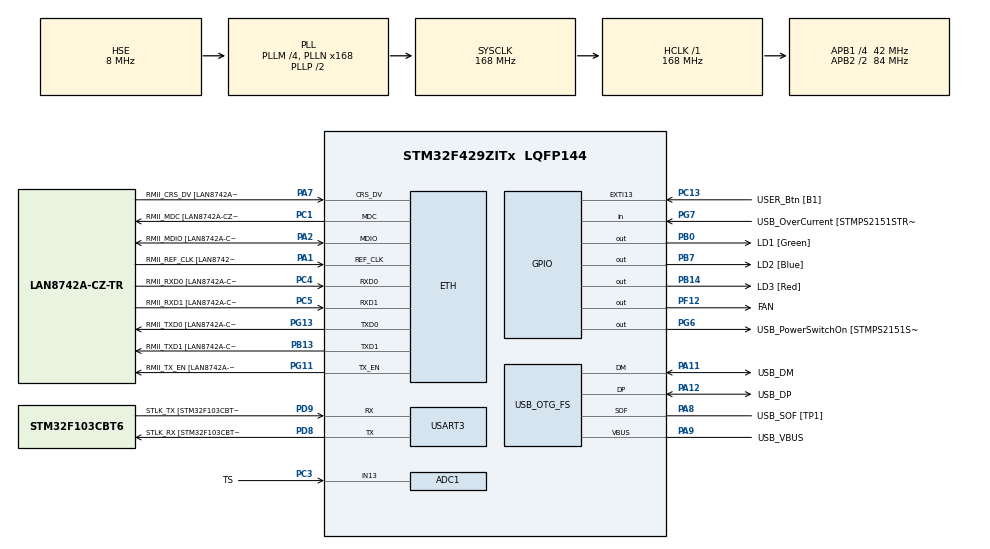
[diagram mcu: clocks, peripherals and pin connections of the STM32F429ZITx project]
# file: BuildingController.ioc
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ADC1.Channel-0\#ChannelRegularConversion=ADC_CHANNEL_13
ADC1.Channel-1\#ChannelInjectedConversion=ADC_CHANNEL_13
ADC1.ContinuousConvMode=ENABLE
ADC1.DMAContinuousRequests=ENABLE
ADC1.InjNumberOfConversion=1
ADC1.InjectedOffset-1\#ChannelInjectedConversion=0
ADC1.InjectedRank-1\#ChannelInjectedConversion=1
ADC1.NbrOfConversionFlag=1
ADC1.Rank-0\#ChannelRegularConversion=1
ADC1.SamplingTime-0\#ChannelRegularConversion=ADC_SAMPLETIME_3CYCLES
ADC1.SamplingTime-1\#ChannelInjectedConversion=ADC_SAMPLETIME_3CYCLES
ADC1.master=1
ETH.MediaInterface=ETH_MEDIA_INTERFACE_RMII
ETH.PHY_Name=LAN8742A_PHY_ADDRESS
ETH.PHY_Value=0
ETH.PhyAddress=0
FREERTOS.Tasks01=defaultTask,0,128,StartDefaultTask,Default,NULL
Mcu.Family=STM32F4
Mcu.Name=STM32F429ZITx
Mcu.Package=LQFP144
NVIC.PriorityGroup=NVIC_PRIORITYGROUP_4
NVIC.TIM2_IRQn=true\:0\:0\:false\:false\:true\:false\:false
NVIC.TimeBase=TIM2_IRQn
NVIC.TimeBaseIP=TIM2
PA1.GPIO_Label=RMII_REF_CLK [LAN8742A-CZ-TR_REFCLK0]
PA1.Mode=RMII
PA1.Signal=ETH_REF_CLK
PA10.GPIO_Label=USB_ID
PA10.Signal=USB_OTG_FS_ID
PA11.GPIO_Label=USB_DM
PA11.Mode=Device_Only
PA11.Signal=USB_OTG_FS_DM
PA12.GPIO_Label=USB_DP
PA12.Mode=Device_Only
PA12.Signal=USB_OTG_FS_DP
PA13.GPIO_Label=TMS
PA13.Mode=Serial_Wire
PA13.Signal=SYS_JTMS-SWDIO
PA14.GPIO_Label=TCK
PA14.Mode=Serial_Wire
PA14.Signal=SYS_JTCK-SWCLK
PA2.GPIO_Label=RMII_MDIO [LAN8742A-CZ-TR_MDIO]
PA2.Mode=RMII
PA2.Signal=ETH_MDIO
PA7.GPIO_Label=RMII_CRS_DV [LAN8742A-CZ-TR_CRS_DV]
PA7.Mode=RMII
PA7.Signal=ETH_CRS_DV
PA8.GPIO_Label=USB_SOF [TP1]
PA8.Mode=Activate_SOF_FS
PA8.Signal=USB_OTG_FS_SOF
PA9.GPIO_Label=USB_VBUS
PA9.Mode=Activate_VBUS
PA9.Signal=USB_OTG_FS_VBUS
PB0.GPIO_Label=LD1 [Green]
PB0.Signal=GPIO_Output
PB13.GPIO_Label=RMII_TXD1 [LAN8742A-CZ-TR_TXD1]
PB13.Mode=RMII
PB13.Signal=ETH_TXD1
PB14.GPIO_Label=LD3 [Red]
PB14.Signal=GPIO_Output
PB7.GPIO_Label=LD2 [Blue]
PB7.Signal=GPIO_Output
PC1.GPIO_Label=RMII_MDC [LAN8742A-CZ-TR_MDC]
PC1.Mode=RMII
PC1.Signal=ETH_MDC
PC13.GPIO_Label=USER_Btn [B1]
PC13.Signal=GPXTI13
PC14/OSC32_IN.Mode=LSE-External-Oscillator
PC14/OSC32_IN.Signal=RCC_OSC32_IN
PC15/OSC32_OUT.Mode=LSE-External-Oscillator
PC15/OSC32_OUT.Signal=RCC_OSC32_OUT
PC3.GPIO_Label=TS
PC3.Signal=SharedAnalog_PC3
PC4.GPIO_Label=RMII_RXD0 [LAN8742A-CZ-TR_RXD0]
PC4.Mode=RMII
PC4.Signal=ETH_RXD0
PC5.GPIO_Label=RMII_RXD1 [LAN8742A-CZ-TR_RXD1]
PC5.Mode=RMII
PC5.Signal=ETH_RXD1
PD8.GPIO_Label=STLK_RX [STM32F103CBT6_PA3]
PD8.Mode=Asynchronous
PD8.Signal=USART3_TX
PD9.GPIO_Label=STLK_TX [STM32F103CBT6_PA2]
PD9.Mode=Asynchronous
PD9.Signal=USART3_RX
PF12.GPIO_Label=FAN
PF12.Signal=GPIO_Output
PG11.GPIO_Label=RMII_TX_EN [LAN8742A-CZ-TR_TXEN]
PG11.Mode=RMII
PG11.Signal=ETH_TX_EN
PG13.GPIO_Label=RMII_TXD0 [LAN8742A-CZ-TR_TXD0]
PG13.Mode=RMII
PG13.Signal=ETH_TXD0
PG6.GPIO_Label=USB_PowerSwitchOn [STMPS2151STR_EN]
PG6.Signal=GPIO_Output
PG7.GPIO_Label=USB_OverCurrent [STMPS2151STR_FAULT]
PG7.Signal=GPIO_Input
PH0/OSC_IN.GPIO_Label=MCO [STM32F103CBT6_PA8]
PH0/OSC_IN.Mode=HSE-External-Clock-Source
PH0/OSC_IN.Signal=RCC_OSC_IN
PH1/OSC_OUT.Mode=HSE-External-Clock-Source
PH1/OSC_OUT.Signal=RCC_OSC_OUT
ProjectManager.HeapSize=0x200
ProjectManager.StackSize=0x400
ProjectManager.TargetToolchain=SW4STM32
RCC.48MHZClocksFreq_Value=48000000
RCC.AHBFreq_Value=168000000
RCC.APB1CLKDivider=RCC_HCLK_DIV4
RCC.APB1Freq_Value=42000000
RCC.APB1TimFreq_Value=84000000
RCC.APB2CLKDivider=RCC_HCLK_DIV2
RCC.APB2Freq_Value=84000000
RCC.APB2TimCLKDivider=2
RCC.APB2TimFreq_Value=168000000
RCC.CortexFreq_Value=168000000
RCC.HCLKFreq_Value=168000000
RCC.HSE_VALUE=8000000
RCC.HSI_VALUE=16000000
RCC.PLLM=4
RCC.PLLMUL=RCC_PLL_MUL9
RCC.PLLN=168
RCC.PLLQ=7
RCC.PRESCALERUSB=RCC_USBCLKSOURCE_PLL_DIV1_5
RCC.SYSCLKFreq_VALUE=168000000
RCC.SYSCLKSource=RCC_SYSCLKSOURCE_PLLCLK
RCC.SYSCLKSourceVirtual=RCC_SYSCLKSOURCE_PLLCLK
RCC.USBFreq_Value=48000000
RCC.VCOOutputFreq_Value=336000000
SH.SharedAnalog_PC3.0=GPIO_Analog
SH.SharedAnalog_PC3.1=ADC1_IN13,IN13
USART3.VirtualMode=VM_ASYNC
USB_OTG_FS.VirtualMode=Device_Only
VP_FREERTOS_VS_ENABLE.Mode=Enabled
VP_SYS_VS_tim2.Mode=TIM2
board=NUCLEO-F429ZI

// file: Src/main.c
/* USER CODE BEGIN Header */
/**
  ******************************************************************************
  * @file           : main.c
  * @brief          : Main program body
  ******************************************************************************
  * This notice applies to any and all portions of this file
  * that are not between comment pairs USER CODE BEGIN and
  * USER CODE END. Other portions of this file, whether
  * inserted by the user or by software development tools
  * are owned by their respective copyright owners.
  *
  * Copyright (c) 2018 STMicroelectronics International N.V.
  * All rights reserved.
  *
  * Redistribution and use in source and binary forms, with or without
  * modification, are permitted, provided that the following conditions are met:
  *
  * 1. Redistribution of source code must retain the above copyright notice,
  *    this list of conditions and the following disclaimer.
  * 2. Redistributions in binary form must reproduce the above copyright notice,
  *    this list of conditions and the following disclaimer in the documentation
  *    and/or other materials provided with the distribution.
  * 3. Neither the name of STMicroelectronics nor the names of other
  *    contributors to this software may be used to endorse or promote products
  *    derived from this software without specific written permission.
  * 4. This software, including modifications and/or derivative works of this
  *    software, must execute solely and exclusively on microcontroller or
  *    microprocessor devices manufactured by or for STMicroelectronics.
  * 5. Redistribution and use of this software other than as permitted under
  *    this license is void and will automatically terminate your rights under
  *    this license.
  *
  * THIS SOFTWARE IS PROVIDED BY STMICROELECTRONICS AND CONTRIBUTORS "AS IS"
  * AND ANY EXPRESS, IMPLIED OR STATUTORY WARRANTIES, INCLUDING, BUT NOT
  * LIMITED TO, THE IMPLIED WARRANTIES OF MERCHANTABILITY, FITNESS FOR A
  * PARTICULAR PURPOSE AND NON-INFRINGEMENT OF THIRD PARTY INTELLECTUAL PROPERTY
  * RIGHTS ARE DISCLAIMED TO THE FULLEST EXTENT PERMITTED BY LAW. IN NO EVENT
  * SHALL STMICROELECTRONICS OR CONTRIBUTORS BE LIABLE FOR ANY DIRECT, INDIRECT,
  * INCIDENTAL, SPECIAL, EXEMPLARY, OR CONSEQUENTIAL DAMAGES (INCLUDING, BUT NOT
  * LIMITED TO, PROCUREMENT OF SUBSTITUTE GOODS OR SERVICES; LOSS OF USE, DATA,
  * OR PROFITS; OR BUSINESS INTERRUPTION) HOWEVER CAUSED AND ON ANY THEORY OF
  * LIABILITY, WHETHER IN CONTRACT, STRICT LIABILITY, OR TORT (INCLUDING
  * NEGLIGENCE OR OTHERWISE) ARISING IN ANY WAY OUT OF THE USE OF THIS SOFTWARE,
  * EVEN IF ADVISED OF THE POSSIBILITY OF SUCH DAMAGE.
  *
  ******************************************************************************
  */
/* USER CODE END Header */

#include "main.h"
#include "cmsis_os.h"

ADC_HandleTypeDef hadc1;

ETH_HandleTypeDef heth;

UART_HandleTypeDef huart3;

PCD_HandleTypeDef hpcd_USB_OTG_FS;

osThreadId defaultTaskHandle;
/* USER CODE BEGIN PV */
uint32_t ts_val;
uint32_t measure_count = 0;
/* USER CODE END PV */

void SystemClock_Config(void);
static void MX_GPIO_Init(void);
static void MX_ETH_Init(void);
static void MX_USART3_UART_Init(void);
static void MX_USB_OTG_FS_PCD_Init(void);
static void MX_ADC1_Init(void);
void StartDefaultTask(void const * argument);

/* USER CODE BEGIN PFP */
int map(int  ymin, int ymax, int x);
/* USER CODE END PFP */

/* USER CODE BEGIN 0 */
void measure_temperature(void* pvParameters)
{
  TickType_t xDelay = 1000 / portTICK_PERIOD_MS;
  for(;;)
  {
    uint32_t sum = 0;
    for(int i = 0; i < 100; i++) {
      if (HAL_ADC_PollForConversion(&hadc1, 100) == HAL_OK) {

        sum = sum + HAL_ADC_GetValue(&hadc1);

      }
        HAL_ADC_Start(&hadc1);

    }

    ts_val =  map(70, 100, (sum / 100.00));
    measure_count++;
    vTaskDelay(xDelay);
  }

}

int map(int  ymin, int ymax, int x) {
  if(ymin < ymax) {
    float ynormMax = ymax - ymin ;
    float y = (ynormMax / 4095.00) * ((float) x);
    return y + ymin;
  } else {
    return -1;
  }
}

void fan_controller(void* pvParameters) {
  TickType_t xDelay = 1000 / portTICK_PERIOD_MS;
  for(;;)
  {
    if(ts_val > 85) {
        HAL_GPIO_WritePin(FAN_GPIO_Port, FAN_Pin, GPIO_PIN_SET);
    }  else {
        HAL_GPIO_WritePin(FAN_GPIO_Port, FAN_Pin, GPIO_PIN_RESET);
    }
    vTaskDelay(xDelay);
  }
}

/* USER CODE END 0 */

int main(void)
{

  /* MCU Configuration--------------------------------------------------------*/

  /* Reset of all peripherals, Initializes the Flash interface and the Systick. */
  HAL_Init();

  /* Configure the system clock */
  SystemClock_Config();

  /* Initialize all configured peripherals */
  MX_GPIO_Init();
  MX_ETH_Init();
  MX_USART3_UART_Init();
  MX_USB_OTG_FS_PCD_Init();
  MX_ADC1_Init();
  /* USER CODE BEGIN 2 */
  HAL_ADC_Start(&hadc1);
  xTaskCreate(measure_temperature, (const char* const) "led_gate", configMINIMAL_STACK_SIZE, 0, 2, 0);
  xTaskCreate(fan_controller, (const char* const) "led_gate", configMINIMAL_STACK_SIZE, 0, 2, 0);
  /* USER CODE END 2 */

  /* Create the thread(s) */
  /* definition and creation of defaultTask */
  osThreadDef(defaultTask, StartDefaultTask, osPriorityNormal, 0, 128);
  defaultTaskHandle = osThreadCreate(osThread(defaultTask), NULL);

  /* Start scheduler */
  osKernelStart();

  /* We should never get here as control is now taken by the scheduler */

  /* Infinite loop */
  while (1)
  {

  }
}

void SystemClock_Config(void)
{
  RCC_OscInitTypeDef RCC_OscInitStruct = {0};
  RCC_ClkInitTypeDef RCC_ClkInitStruct = {0};

  /**Configure the main internal regulator output voltage
  */
  __HAL_RCC_PWR_CLK_ENABLE();
  __HAL_PWR_VOLTAGESCALING_CONFIG(PWR_REGULATOR_VOLTAGE_SCALE1);
  /**Initializes the CPU, AHB and APB busses clocks
  */
  RCC_OscInitStruct.OscillatorType = RCC_OSCILLATORTYPE_HSE;
  RCC_OscInitStruct.HSEState = RCC_HSE_BYPASS;
  RCC_OscInitStruct.PLL.PLLState = RCC_PLL_ON;
  RCC_OscInitStruct.PLL.PLLSource = RCC_PLLSOURCE_HSE;
  RCC_OscInitStruct.PLL.PLLM = 4;
  RCC_OscInitStruct.PLL.PLLN = 168;
  RCC_OscInitStruct.PLL.PLLP = RCC_PLLP_DIV2;
  RCC_OscInitStruct.PLL.PLLQ = 7;
  if (HAL_RCC_OscConfig(&RCC_OscInitStruct) != HAL_OK)
  {
    Error_Handler();
  }
  /**Initializes the CPU, AHB and APB busses clocks
  */
  RCC_ClkInitStruct.ClockType = RCC_CLOCKTYPE_HCLK|RCC_CLOCKTYPE_SYSCLK
                              |RCC_CLOCKTYPE_PCLK1|RCC_CLOCKTYPE_PCLK2;
  RCC_ClkInitStruct.SYSCLKSource = RCC_SYSCLKSOURCE_PLLCLK;
  RCC_ClkInitStruct.AHBCLKDivider = RCC_SYSCLK_DIV1;
  RCC_ClkInitStruct.APB1CLKDivider = RCC_HCLK_DIV4;
  RCC_ClkInitStruct.APB2CLKDivider = RCC_HCLK_DIV2;

  if (HAL_RCC_ClockConfig(&RCC_ClkInitStruct, FLASH_LATENCY_5) != HAL_OK)
  {
    Error_Handler();
  }
}

static void MX_ADC1_Init(void)
{

  ADC_ChannelConfTypeDef sConfig = {0};
  ADC_InjectionConfTypeDef sConfigInjected = {0};

  /**Configure the global features of the ADC (Clock, Resolution, Data Alignment and number of conversion)
  */
  hadc1.Instance = ADC1;
  hadc1.Init.ClockPrescaler = ADC_CLOCK_SYNC_PCLK_DIV4;
  hadc1.Init.Resolution = ADC_RESOLUTION_12B;
  hadc1.Init.ScanConvMode = DISABLE;
  hadc1.Init.ContinuousConvMode = ENABLE;
  hadc1.Init.DiscontinuousConvMode = DISABLE;
  hadc1.Init.ExternalTrigConvEdge = ADC_EXTERNALTRIGCONVEDGE_NONE;
  hadc1.Init.ExternalTrigConv = ADC_SOFTWARE_START;
  hadc1.Init.DataAlign = ADC_DATAALIGN_RIGHT;
  hadc1.Init.NbrOfConversion = 1;
  hadc1.Init.DMAContinuousRequests = ENABLE;
  hadc1.Init.EOCSelection = ADC_EOC_SINGLE_CONV;
  if (HAL_ADC_Init(&hadc1) != HAL_OK)
  {
    Error_Handler();
  }
  /**Configure for the selected ADC regular channel its corresponding rank in the sequencer and its sample time.
  */
  sConfig.Channel = ADC_CHANNEL_13;
  sConfig.Rank = 1;
  sConfig.SamplingTime = ADC_SAMPLETIME_3CYCLES;
  if (HAL_ADC_ConfigChannel(&hadc1, &sConfig) != HAL_OK)
  {
    Error_Handler();
  }
  /**Configures for the selected ADC injected channel its corresponding rank in the sequencer and its sample time
  */
  sConfigInjected.InjectedChannel = ADC_CHANNEL_13;
  sConfigInjected.InjectedRank = 1;
  sConfigInjected.InjectedNbrOfConversion = 1;
  sConfigInjected.InjectedSamplingTime = ADC_SAMPLETIME_3CYCLES;
  sConfigInjected.ExternalTrigInjecConvEdge = ADC_EXTERNALTRIGINJECCONVEDGE_NONE;
  sConfigInjected.ExternalTrigInjecConv = ADC_INJECTED_SOFTWARE_START;
  sConfigInjected.AutoInjectedConv = DISABLE;
  sConfigInjected.InjectedDiscontinuousConvMode = DISABLE;
  sConfigInjected.InjectedOffset = 0;
  if (HAL_ADCEx_InjectedConfigChannel(&hadc1, &sConfigInjected) != HAL_OK)
  {
    Error_Handler();
  }

}

static void MX_ETH_Init(void)
{

   uint8_t MACAddr[6] ;

  heth.Instance = ETH;
  heth.Init.AutoNegotiation = ETH_AUTONEGOTIATION_ENABLE;
  heth.Init.PhyAddress = LAN8742A_PHY_ADDRESS;
  MACAddr[0] = 0x00;
  MACAddr[1] = 0x80;
  MACAddr[2] = 0xE1;
  MACAddr[3] = 0x00;
  MACAddr[4] = 0x00;
  MACAddr[5] = 0x00;
  heth.Init.MACAddr = &MACAddr[0];
  heth.Init.RxMode = ETH_RXPOLLING_MODE;
  heth.Init.ChecksumMode = ETH_CHECKSUM_BY_HARDWARE;
  heth.Init.MediaInterface = ETH_MEDIA_INTERFACE_RMII;

  if (HAL_ETH_Init(&heth) != HAL_OK)
  {
    Error_Handler();
  }

}

static void MX_USART3_UART_Init(void)
{

  huart3.Instance = USART3;
  huart3.Init.BaudRate = 115200;
  huart3.Init.WordLength = UART_WORDLENGTH_8B;
  huart3.Init.StopBits = UART_STOPBITS_1;
  huart3.Init.Parity = UART_PARITY_NONE;
  huart3.Init.Mode = UART_MODE_TX_RX;
  huart3.Init.HwFlowCtl = UART_HWCONTROL_NONE;
  huart3.Init.OverSampling = UART_OVERSAMPLING_16;
  if (HAL_UART_Init(&huart3) != HAL_OK)
  {
    Error_Handler();
  }

}

static void MX_USB_OTG_FS_PCD_Init(void)
{

  hpcd_USB_OTG_FS.Instance = USB_OTG_FS;
  hpcd_USB_OTG_FS.Init.dev_endpoints = 4;
  hpcd_USB_OTG_FS.Init.speed = PCD_SPEED_FULL;
  hpcd_USB_OTG_FS.Init.dma_enable = DISABLE;
  hpcd_USB_OTG_FS.Init.ep0_mps = DEP0CTL_MPS_64;
  hpcd_USB_OTG_FS.Init.phy_itface = PCD_PHY_EMBEDDED;
  hpcd_USB_OTG_FS.Init.Sof_enable = ENABLE;
  hpcd_USB_OTG_FS.Init.low_power_enable = DISABLE;
  hpcd_USB_OTG_FS.Init.lpm_enable = DISABLE;
  hpcd_USB_OTG_FS.Init.vbus_sensing_enable = ENABLE;
  hpcd_USB_OTG_FS.Init.use_dedicated_ep1 = DISABLE;
  if (HAL_PCD_Init(&hpcd_USB_OTG_FS) != HAL_OK)
  {
    Error_Handler();
  }

}

static void MX_GPIO_Init(void)
{
  GPIO_InitTypeDef GPIO_InitStruct = {0};

  /* GPIO Ports Clock Enable */
  __HAL_RCC_GPIOC_CLK_ENABLE();
  __HAL_RCC_GPIOH_CLK_ENABLE();
  __HAL_RCC_GPIOA_CLK_ENABLE();
  __HAL_RCC_GPIOB_CLK_ENABLE();
  __HAL_RCC_GPIOF_CLK_ENABLE();
  __HAL_RCC_GPIOD_CLK_ENABLE();
  __HAL_RCC_GPIOG_CLK_ENABLE();

  /*Configure GPIO pin Output Level */
  HAL_GPIO_WritePin(GPIOB, LD1_Pin|LD3_Pin|LD2_Pin, GPIO_PIN_RESET);

  /*Configure GPIO pin Output Level */
  HAL_GPIO_WritePin(FAN_GPIO_Port, FAN_Pin, GPIO_PIN_RESET);

  /*Configure GPIO pin Output Level */
  HAL_GPIO_WritePin(USB_PowerSwitchOn_GPIO_Port, USB_PowerSwitchOn_Pin, GPIO_PIN_RESET);

  /*Configure GPIO pin : USER_Btn_Pin */
  GPIO_InitStruct.Pin = USER_Btn_Pin;
  GPIO_InitStruct.Mode = GPIO_MODE_IT_RISING;
  GPIO_InitStruct.Pull = GPIO_NOPULL;
  HAL_GPIO_Init(USER_Btn_GPIO_Port, &GPIO_InitStruct);

  /*Configure GPIO pin : TS_Pin */
  GPIO_InitStruct.Pin = TS_Pin;
  GPIO_InitStruct.Mode = GPIO_MODE_ANALOG;
  GPIO_InitStruct.Pull = GPIO_NOPULL;
  HAL_GPIO_Init(TS_GPIO_Port, &GPIO_InitStruct);

  /*Configure GPIO pins : LD1_Pin LD3_Pin LD2_Pin */
  GPIO_InitStruct.Pin = LD1_Pin|LD3_Pin|LD2_Pin;
  GPIO_InitStruct.Mode = GPIO_MODE_OUTPUT_PP;
  GPIO_InitStruct.Pull = GPIO_NOPULL;
  GPIO_InitStruct.Speed = GPIO_SPEED_FREQ_LOW;
  HAL_GPIO_Init(GPIOB, &GPIO_InitStruct);

  /*Configure GPIO pin : FAN_Pin */
  GPIO_InitStruct.Pin = FAN_Pin;
  GPIO_InitStruct.Mode = GPIO_MODE_OUTPUT_PP;
  GPIO_InitStruct.Pull = GPIO_NOPULL;
  GPIO_InitStruct.Speed = GPIO_SPEED_FREQ_LOW;
  HAL_GPIO_Init(FAN_GPIO_Port, &GPIO_InitStruct);

  /*Configure GPIO pin : USB_PowerSwitchOn_Pin */
  GPIO_InitStruct.Pin = USB_PowerSwitchOn_Pin;
  GPIO_InitStruct.Mode = GPIO_MODE_OUTPUT_PP;
  GPIO_InitStruct.Pull = GPIO_NOPULL;
  GPIO_InitStruct.Speed = GPIO_SPEED_FREQ_LOW;
  HAL_GPIO_Init(USB_PowerSwitchOn_GPIO_Port, &GPIO_InitStruct);

  /*Configure GPIO pin : USB_OverCurrent_Pin */
  GPIO_InitStruct.Pin = USB_OverCurrent_Pin;
  GPIO_InitStruct.Mode = GPIO_MODE_INPUT;
  GPIO_InitStruct.Pull = GPIO_NOPULL;
  HAL_GPIO_Init(USB_OverCurrent_GPIO_Port, &GPIO_InitStruct);

}

void StartDefaultTask(void const * argument)
{

  for(;;)
  {
    osDelay(1);
  }
}

void HAL_TIM_PeriodElapsedCallback(TIM_HandleTypeDef *htim)
{
  if (htim->Instance == TIM2) {
    HAL_IncTick();
  }
}

void Error_Handler(void)
{
}

/************************ (C) COPYRIGHT STMicroelectronics *****END OF FILE****/
